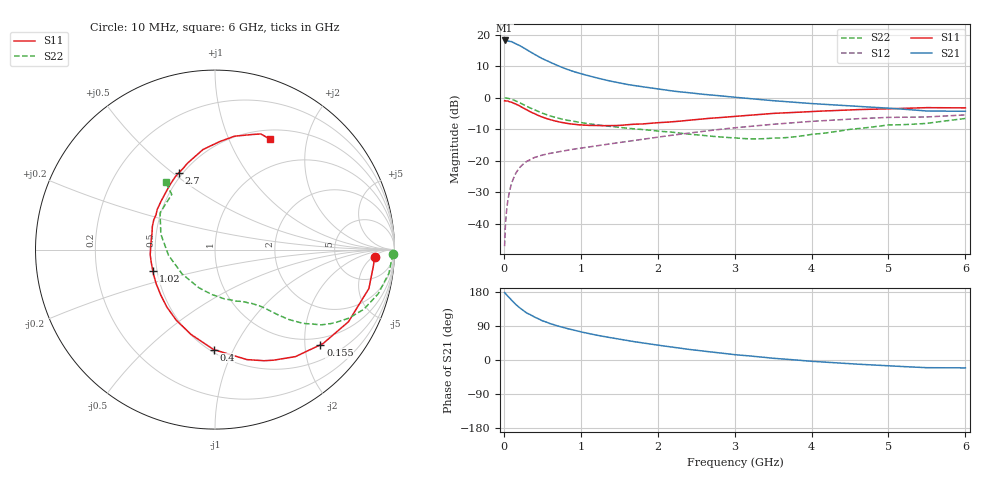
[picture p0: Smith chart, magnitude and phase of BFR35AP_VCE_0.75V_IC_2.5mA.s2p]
! Infineon Technologies  Discrete & RF Semiconductors
! BFR35AP
! VCE = 0.75 V,  IC =  2.5 mA
! Common Emitter S-Parameters:  Nov 2015
# GHz  S  MA  R  50
!  f  S11  S21  S12  S22
! GHz  MAG  ANG  MAG  ANG  MAG  ANG  MAG  ANG
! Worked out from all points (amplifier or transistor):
!   210 points, 10 MHz to 6 GHz, reference 50 ohm
!   highest |S21| = 18.1 dB at 10 MHz (marker M1)
!   |S21| within 3 dB of that: start of sweep to 301.7 MHz
!   unconditionally stable (mu >= 1): 955.2 MHz to end of sweep
!   at 185 MHz: K = 0.26, MSG = 19.8 dB, |S12| = -22.9 dB
!   at 1.52 GHz: K = 1.21, MAG = 6.7 dB, |S12| = -14.2 dB
!   at 6 GHz: K = 1.07, MAG = -1.0 dB, |S12| = -5.5 dB
!   S11 on the Smith chart (normalised r, x): 10 MHz: 15, -6; 155 MHz: 0.83, -2.35; 400 MHz: 0.52, -0.84; 1.02 GHz: 0.47, -0.13; 2.7 GHz: 0.48, +0.52; 6 GHz: 0.62, +1.43
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0.01  0.8904 -2.8  8.066 178.1  0.0044 87.8  0.9929 -1.5
0.02  0.8872 -5.9  7.968 175.4  0.0091 83.5  0.9864 -3.2
0.04  0.8833 -11.4  7.928 171.0  0.018 82.2  0.9799 -6.3
0.1  0.8453 -28.4  7.736 158.1  0.0434 74.3  0.9418 -15.2
0.155  0.7912 -42.1  7.147 146.7  0.063 66.0  0.8871 -22.4
0.2  0.7463 -53.0  6.754 138.7  0.0764 61.2  0.8383 -27.1
0.26  0.6766 -66.2  6.152 129.3  0.0899 55.5  0.7669 -32.5
0.3  0.6383 -73.8  5.727 123.8  0.0977 52.8  0.724 -35.4
0.4  0.5568 -90.8  4.851 113.2  0.1124 47.4  0.6367 -40.1
0.5  0.4915 -105.7  4.153 103.6  0.1226 43.9  0.5669 -43.4
0.62  0.4412 -120.9  3.556 95.0  0.1319 41.9  0.5048 -46.0
0.7  0.4171 -130.2  3.221 89.8  0.1374 41.0  0.4735 -47.4
0.8  0.3942 -140.0  2.872 84.2  0.1441 40.4  0.4428 -48.8
1.02  0.3668 -160.8  2.362 73.5  0.1592 40.0  0.3991 -51.7
1.4  0.36 171.4  1.812 58.4  0.1856 40.7  0.3485 -58.3
1.6  0.3722 159.7  1.62 51.3  0.2014 41.0  0.3271 -62.1
2.02  0.4009 139.7  1.359 38.6  0.2382 40.1  0.2933 -72.6
2.7  0.4714 115.4  1.098 21.1  0.3029 36.1  0.2441 -98.1
3.1  0.5145 105.4  0.988 12.4  0.3409 32.0  0.2248 -119.5
4.1  0.6089 86.1  0.791 -4.6  0.427 20.3  0.2678 -178.3
5.1  0.6699 72.9  0.668 -16.5  0.4866 7.0  0.3698 142.4
6  0.6872 63.4  0.607 -20.8  0.5315 -2.5  0.4666 126.2
